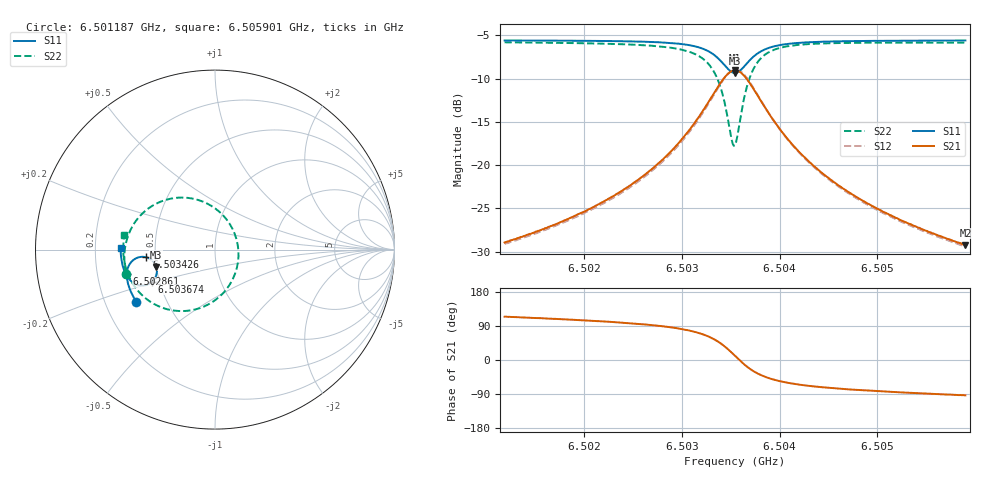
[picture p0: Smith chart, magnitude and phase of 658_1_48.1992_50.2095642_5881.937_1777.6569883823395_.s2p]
#  HZ  S  RI  R  50.00
! Rohde & Schwarz Vector Network Analyzer
! Rohde-Schwarz,ZNB20-2Port,1311601062101988,3.16
! Created: UTC 3/20/2024, 12:05:36 PM
! freq[Hz]  re:S11  im:S11  re:S21  im:S21  re:S12  im:S12  re:S22  im:S22
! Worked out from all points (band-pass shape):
!   401 points, 6.501187 GHz to 6.505901 GHz, reference 50 ohm
!   highest |S21| = -9.03 dB at 6.503544 GHz (marker M1); lowest = -29.2 dB at 6.505901 GHz (marker M2)
!   |S21| within 3 dB of the highest: 6.503309 GHz to 6.50378 GHz (471.1 kHz wide, 0.00724 % of centre)
!   lowest |S11| = -9.3 dB at 6.503544 GHz (marker M3), VSWR 2.03, Z = 25 - j5.49 ohm
!   |S11| at or under -10 dB: nowhere
!   |S22| runs from -17.8 to -5.8 dB; largest |S21 - S12| = 0.013
!   S11 on the Smith chart (normalised r, x): 6.501187 GHz: 0.34, -0.27; 6.502861 GHz: 0.33, -0.12; 6.503426 GHz: 0.45, -0.04; 6.503674 GHz: 0.46, -0.19; 6.505901 GHz: 0.31, +0.01
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6.5011873e9  -0.4377 -0.2922  -0.0147 0.0325  -0.0128 0.0326  -0.4956 -0.1342
6.5019769e9  -0.4699 -0.2317  -0.0139 0.0513  -0.011 0.0508  -0.5052 -0.0464
6.5024012e9  -0.4839 -0.1926  -0.0105 0.0713  -0.00725 0.0699  -0.5001 0.0174
6.5027665e9  -0.4913 -0.1504  -0.000269 0.103  0.0037 0.1004  -0.4772 0.0957
6.5028608e9  -0.4916 -0.1368  0.00565 0.1155  0.00976 0.1124  -0.4642 0.1225
6.5030611e9  -0.4856 -0.1022  0.0305 0.1523  0.0349 0.1473  -0.4124 0.1934
6.5032026e9  -0.4689 -0.0718  0.0723 0.1873  0.0755 0.1808  -0.332 0.2536
6.5033322e9  -0.4311 -0.0449  0.1525 0.2138  0.1539 0.2066  -0.186 0.2899
6.5034265e9  -0.3825 -0.0429  0.2477 0.1959  0.2483 0.1905  -0.0212 0.2441
6.503509e9  -0.3381 -0.074  0.3287 0.1179  0.3319 0.1128  0.1089 0.0901
6.5035443e9  -0.3268 -0.0972  0.3471 0.067  0.3513 0.0604  0.1304 -0.00574
6.5035679e9  -0.3238 -0.1143  0.3505 0.0309  0.3549 0.0227  0.1275 -0.0723
6.5036033e9  -0.3262 -0.1395  0.3426 -0.0216  0.3463 -0.0318  0.0986 -0.1653
6.503674e9  -0.3497 -0.1785  0.2933 -0.1008  0.2931 -0.114  -0.0171 -0.2941
6.5037683e9  -0.3922 -0.199  0.2117 -0.1456  0.2058 -0.157  -0.1842 -0.3426
6.503839e9  -0.4194 -0.199  0.1619 -0.1508  0.1543 -0.1598  -0.277 -0.3292
6.5039215e9  -0.4433 -0.1916  0.1196 -0.1443  0.1117 -0.1505  -0.351 -0.2961
6.5040865e9  -0.4731 -0.1702  0.0698 -0.1223  0.0626 -0.1251  -0.4319 -0.2265
6.5043339e9  -0.4959 -0.1389  0.0358 -0.0942  0.0303 -0.095  -0.4811 -0.1465
6.5046757e9  -0.5112 -0.1016  0.0163 -0.0698  0.0124 -0.0695  -0.5041 -0.0718
6.5051236e9  -0.521 -0.0589  0.00548 -0.0512  0.00286 -0.0507  -0.5112 -0.00392
6.5059014e9  -0.5262 0.00794  -0.00201 -0.0345  -0.00336 -0.0338  -0.5047 0.0823
